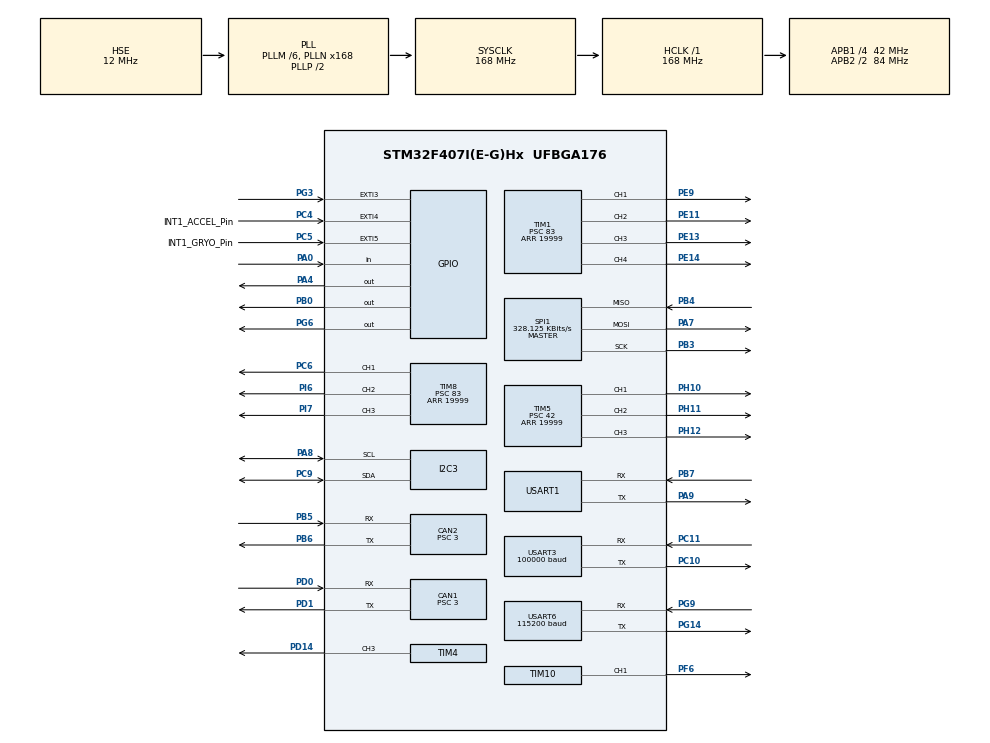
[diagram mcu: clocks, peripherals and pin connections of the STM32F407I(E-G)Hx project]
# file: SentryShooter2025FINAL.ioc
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CAN1.BS1=CAN_BS1_10TQ
CAN1.BS2=CAN_BS2_3TQ
CAN1.CalculateBaudRate=1000000
CAN1.CalculateTimeBit=1000
CAN1.CalculateTimeQuantum=71.42857142857143
CAN1.Prescaler=3
CAN2.BS1=CAN_BS1_10TQ
CAN2.BS2=CAN_BS2_3TQ
CAN2.CalculateBaudRate=1000000
CAN2.CalculateTimeBit=1000
CAN2.CalculateTimeQuantum=71.42857142857143
CAN2.Prescaler=3
Dma.Request0=USART3_RX
Dma.Request1=USART1_RX
Dma.Request2=USART6_RX
Dma.USART1_RX.1.Direction=DMA_PERIPH_TO_MEMORY
Dma.USART1_RX.1.FIFOMode=DMA_FIFOMODE_DISABLE
Dma.USART1_RX.1.Instance=DMA2_Stream2
Dma.USART1_RX.1.MemDataAlignment=DMA_MDATAALIGN_BYTE
Dma.USART1_RX.1.MemInc=DMA_MINC_ENABLE
Dma.USART1_RX.1.Mode=DMA_NORMAL
Dma.USART1_RX.1.PeriphDataAlignment=DMA_PDATAALIGN_BYTE
Dma.USART1_RX.1.PeriphInc=DMA_PINC_DISABLE
Dma.USART1_RX.1.Priority=DMA_PRIORITY_VERY_HIGH
Dma.USART3_RX.0.Direction=DMA_PERIPH_TO_MEMORY
Dma.USART3_RX.0.FIFOMode=DMA_FIFOMODE_DISABLE
Dma.USART3_RX.0.Instance=DMA1_Stream1
Dma.USART3_RX.0.MemDataAlignment=DMA_MDATAALIGN_BYTE
Dma.USART3_RX.0.MemInc=DMA_MINC_ENABLE
Dma.USART3_RX.0.Mode=DMA_CIRCULAR
Dma.USART3_RX.0.PeriphDataAlignment=DMA_PDATAALIGN_BYTE
Dma.USART3_RX.0.PeriphInc=DMA_PINC_DISABLE
Dma.USART3_RX.0.Priority=DMA_PRIORITY_VERY_HIGH
Dma.USART6_RX.2.Direction=DMA_PERIPH_TO_MEMORY
Dma.USART6_RX.2.FIFOMode=DMA_FIFOMODE_DISABLE
Dma.USART6_RX.2.Instance=DMA2_Stream1
Dma.USART6_RX.2.MemDataAlignment=DMA_MDATAALIGN_BYTE
Dma.USART6_RX.2.MemInc=DMA_MINC_ENABLE
Dma.USART6_RX.2.Mode=DMA_NORMAL
Dma.USART6_RX.2.PeriphDataAlignment=DMA_PDATAALIGN_BYTE
Dma.USART6_RX.2.PeriphInc=DMA_PINC_DISABLE
Dma.USART6_RX.2.Priority=DMA_PRIORITY_VERY_HIGH
FREERTOS.INCLUDE_pcTaskGetTaskName=1
FREERTOS.INCLUDE_xTaskGetHandle=1
FREERTOS.Tasks01=FlowManager,40,128,StartFlowManager,Default,NULL,Dynamic,NULL,NULL;IMUtempPIDtask,24,128,imu_temp_control_task,As weak,NULL,Dynamic,NULL,NULL;TurretTask,24,1024,StartTurretTask,Default,NULL,Dynamic,NULL,NULL;SentryAutonomy,24,512,StartSentryAutonomy,Default,NULL,Dynamic,NULL,NULL
FREERTOS.configUSE_NEWLIB_REENTRANT=1
I2C3.I2C_Mode=I2C_Fast
Mcu.Family=STM32F4
Mcu.Name=STM32F407I(E-G)Hx
Mcu.Package=UFBGA176
NVIC.CAN1_RX0_IRQn=true\:5\:0\:false\:false\:true\:true\:true\:true\:true
NVIC.CAN2_RX0_IRQn=true\:5\:0\:false\:false\:true\:true\:true\:true\:true
NVIC.DMA1_Stream1_IRQn=true\:5\:0\:false\:false\:true\:true\:false\:true\:true
NVIC.DMA2_Stream1_IRQn=true\:5\:0\:false\:false\:true\:true\:false\:true\:true
NVIC.DMA2_Stream2_IRQn=true\:5\:0\:false\:false\:true\:true\:false\:true\:true
NVIC.EXTI3_IRQn=true\:5\:0\:false\:false\:true\:true\:true\:true\:true
NVIC.EXTI4_IRQn=true\:5\:0\:false\:false\:true\:true\:true\:true\:true
NVIC.PriorityGroup=NVIC_PRIORITYGROUP_4
NVIC.USART1_IRQn=true\:5\:0\:false\:false\:true\:true\:true\:true\:true
NVIC.USART6_IRQn=true\:5\:0\:false\:false\:true\:true\:true\:true\:true
PA0-WKUP.Signal=GPIO_Input
PA13.Mode=Serial_Wire
PA13.Signal=SYS_JTMS-SWDIO
PA14.Mode=Serial_Wire
PA14.Signal=SYS_JTCK-SWCLK
PA4.Signal=GPIO_Output
PA7.Mode=Full_Duplex_Master
PA7.Signal=SPI1_MOSI
PA8.Mode=I2C
PA8.Signal=I2C3_SCL
PA9.Mode=Asynchronous
PA9.Signal=USART1_TX
PB0.Signal=GPIO_Output
PB3.Mode=Full_Duplex_Master
PB3.Signal=SPI1_SCK
PB4.Mode=Full_Duplex_Master
PB4.Signal=SPI1_MISO
PB5.Mode=CAN_Activate
PB5.Signal=CAN2_RX
PB6.Mode=CAN_Activate
PB6.Signal=CAN2_TX
PB7.Mode=Asynchronous
PB7.Signal=USART1_RX
PC10.Mode=Asynchronous
PC10.Signal=USART3_TX
PC11.Mode=Asynchronous
PC11.Signal=USART3_RX
PC4.GPIO_Label=INT1_ACCEL_Pin
PC4.Signal=GPXTI4
PC5.GPIO_Label=INT1_GRYO_Pin
PC5.Signal=GPXTI5
PC6.Signal=S_TIM8_CH1
PC9.Mode=I2C
PC9.Signal=I2C3_SDA
PD0.Mode=CAN_Activate
PD0.Signal=CAN1_RX
PD1.Mode=CAN_Activate
PD1.Signal=CAN1_TX
PD14.Signal=S_TIM4_CH3
PE11.Signal=S_TIM1_CH2
PE13.Signal=S_TIM1_CH3
PE14.Signal=S_TIM1_CH4
PE9.Signal=S_TIM1_CH1
PF6.GPIO_PuPd=GPIO_PULLUP
PF6.GPIO_Speed=GPIO_SPEED_FREQ_HIGH
PF6.Signal=S_TIM10_CH1
PG14.Mode=Asynchronous
PG14.Signal=USART6_TX
PG3.Signal=GPXTI3
PG6.Signal=GPIO_Output
PG9.Mode=Asynchronous
PG9.Signal=USART6_RX
PH0-OSC_IN.Mode=HSE-External-Oscillator
PH0-OSC_IN.Signal=RCC_OSC_IN
PH1-OSC_OUT.Mode=HSE-External-Oscillator
PH1-OSC_OUT.Signal=RCC_OSC_OUT
PH10.Signal=S_TIM5_CH1
PH11.Signal=S_TIM5_CH2
PH12.Signal=S_TIM5_CH3
PI6.Signal=S_TIM8_CH2
PI7.Signal=S_TIM8_CH3
ProjectManager.HeapSize=0x200
ProjectManager.StackSize=0x400
ProjectManager.TargetToolchain=STM32CubeIDE
RCC.48MHZClocksFreq_Value=84000000
RCC.AHBFreq_Value=168000000
RCC.APB1CLKDivider=RCC_HCLK_DIV4
RCC.APB1Freq_Value=42000000
RCC.APB1TimFreq_Value=84000000
RCC.APB2CLKDivider=RCC_HCLK_DIV2
RCC.APB2Freq_Value=84000000
RCC.APB2TimFreq_Value=168000000
RCC.CortexFreq_Value=168000000
RCC.EnbaleCSS=true
RCC.HCLKFreq_Value=168000000
RCC.HSE_VALUE=12000000
RCC.HSI_VALUE=16000000
RCC.LSE_VALUE=32768
RCC.PLLM=6
RCC.PLLN=168
RCC.PLLSourceVirtual=RCC_PLLSOURCE_HSE
RCC.SYSCLKFreq_VALUE=168000000
RCC.SYSCLKSource=RCC_SYSCLKSOURCE_PLLCLK
RCC.VCOOutputFreq_Value=336000000
SH.S_TIM10_CH1.0=TIM10_CH1,PWM Generation1 CH1
SH.S_TIM1_CH1.0=TIM1_CH1,PWM Generation1 CH1
SH.S_TIM1_CH2.0=TIM1_CH2,PWM Generation2 CH2
SH.S_TIM1_CH3.0=TIM1_CH3,PWM Generation3 CH3
SH.S_TIM1_CH4.0=TIM1_CH4,PWM Generation4 CH4
SH.S_TIM4_CH3.0=TIM4_CH3,PWM Generation3 CH3
SH.S_TIM5_CH1.0=TIM5_CH1,PWM Generation1 CH1
SH.S_TIM5_CH2.0=TIM5_CH2,PWM Generation2 CH2
SH.S_TIM5_CH3.0=TIM5_CH3,PWM Generation3 CH3
SH.S_TIM8_CH1.0=TIM8_CH1,PWM Generation1 CH1
SH.S_TIM8_CH2.0=TIM8_CH2,PWM Generation2 CH2
SH.S_TIM8_CH3.0=TIM8_CH3,PWM Generation3 CH3
SPI1.BaudRatePrescaler=SPI_BAUDRATEPRESCALER_256
SPI1.CLKPhase=SPI_PHASE_2EDGE
SPI1.CLKPolarity=SPI_POLARITY_HIGH
SPI1.CalculateBaudRate=328.125 KBits/s
SPI1.Direction=SPI_DIRECTION_2LINES
SPI1.Mode=SPI_MODE_MASTER
SPI1.VirtualType=VM_MASTER
TIM1.AutoReloadPreload=TIM_AUTORELOAD_PRELOAD_DISABLE
TIM1.Channel-PWM\ Generation1\ CH1=TIM_CHANNEL_1
TIM1.Channel-PWM\ Generation2\ CH2=TIM_CHANNEL_2
TIM1.Channel-PWM\ Generation3\ CH3=TIM_CHANNEL_3
TIM1.Channel-PWM\ Generation4\ CH4=TIM_CHANNEL_4
TIM1.Period=19999
TIM1.Prescaler=83
TIM1.Pulse-PWM\ Generation1\ CH1=0
TIM10.Channel=TIM_CHANNEL_1
TIM10.Period=4999
TIM4.AutoReloadPreload=TIM_AUTORELOAD_PRELOAD_ENABLE
TIM4.Channel-PWM\ Generation3\ CH3=TIM_CHANNEL_3
TIM4.Period=20999
TIM4.Pulse-PWM\ Generation3\ CH3=10499
TIM5.Channel-PWM\ Generation1\ CH1=TIM_CHANNEL_1
TIM5.Channel-PWM\ Generation2\ CH2=TIM_CHANNEL_2
TIM5.Channel-PWM\ Generation3\ CH3=TIM_CHANNEL_3
TIM5.Period=19999
TIM5.Prescaler=42
TIM8.AutoReloadPreload=TIM_AUTORELOAD_PRELOAD_ENABLE
TIM8.Channel-PWM\ Generation1\ CH1=TIM_CHANNEL_1
TIM8.Channel-PWM\ Generation2\ CH2=TIM_CHANNEL_2
TIM8.Channel-PWM\ Generation3\ CH3=TIM_CHANNEL_3
TIM8.Period=19999
TIM8.Prescaler=83
USART1.VirtualMode=VM_ASYNC
USART3.BaudRate=100000
USART3.Parity=PARITY_EVEN
USART3.VirtualMode=VM_ASYNC
USART6.BaudRate=115200
USART6.VirtualMode=VM_ASYNC
VP_FREERTOS_VS_CMSIS_V2.Mode=CMSIS_V2
VP_TIM10_VS_ClockSourceINT.Mode=Enable_Timer
VP_TIM4_VS_ClockSourceINT.Mode=Internal
board=custom

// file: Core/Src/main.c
/* USER CODE BEGIN Header */
/**
  ******************************************************************************
  * @file           : main.c
  * @brief          : Main program body
  ******************************************************************************
  * @attention
  *
  * Copyright (c) 2025 STMicroelectronics.
  * All rights reserved.
  *
  * This software is licensed under terms that can be found in the LICENSE file
  * in the root directory of this software component.
  * If no LICENSE file comes with this software, it is provided AS-IS.
  *
  ******************************************************************************
  */
/* USER CODE END Header */
#include "main.h"
#include "cmsis_os.h"

/* USER CODE BEGIN Includes */
#include "UART_RM25.h"
#include "DBUS.h"
#include <math.h>
// #include "CC_Handler.h"
#include "CAN.h"
#include "CAL_RM25.h"

#include "BMI088driver.h"
#include "BMI088Middleware.h"
#include "BMI088reg.h"
#include "custom_math.h"
#include "pwm.h"
/* USER CODE END Includes */

/* USER CODE BEGIN PD */
int16_t turretRotationForCV[3] = {0, 0, 0};
uint8_t SENTRYSHOOT[2] = {0, 0};
uint8_t currentGameStatus = 0;
int16_t sentryAutoState = 0;
uint8_t driveChassisForwards = 0;
int16_t turretCVAimingSum = 0;
int32_t SentryTurnAngle = 2000;
/* USER CODE END PD */

CAN_HandleTypeDef hcan1;
CAN_HandleTypeDef hcan2;

I2C_HandleTypeDef hi2c3;

SPI_HandleTypeDef hspi1;

TIM_HandleTypeDef htim1;
TIM_HandleTypeDef htim4;
TIM_HandleTypeDef htim5;
TIM_HandleTypeDef htim8;
TIM_HandleTypeDef htim10;

UART_HandleTypeDef huart1;
UART_HandleTypeDef huart3;
UART_HandleTypeDef huart6;
DMA_HandleTypeDef hdma_usart1_rx;
DMA_HandleTypeDef hdma_usart3_rx;
DMA_HandleTypeDef hdma_usart6_rx;

/* Definitions for FlowManager */
osThreadId_t FlowManagerHandle;
const osThreadAttr_t FlowManager_attributes = {
  .name = "FlowManager",
  .stack_size = 128 * 4,
  .priority = (osPriority_t) osPriorityHigh,
};
/* Definitions for IMUtempPIDtask */
osThreadId_t IMUtempPIDtaskHandle;
const osThreadAttr_t IMUtempPIDtask_attributes = {
  .name = "IMUtempPIDtask",
  .stack_size = 128 * 4,
  .priority = (osPriority_t) osPriorityNormal,
};
/* Definitions for TurretTask */
osThreadId_t TurretTaskHandle;
const osThreadAttr_t TurretTask_attributes = {
  .name = "TurretTask",
  .stack_size = 1024 * 4,
  .priority = (osPriority_t) osPriorityNormal,
};
/* Definitions for SentryAutonomy */
osThreadId_t SentryAutonomyHandle;
const osThreadAttr_t SentryAutonomy_attributes = {
  .name = "SentryAutonomy",
  .stack_size = 512 * 4,
  .priority = (osPriority_t) osPriorityNormal,
};

void SystemClock_Config(void);
static void MX_GPIO_Init(void);
static void MX_DMA_Init(void);
static void MX_CAN1_Init(void);
static void MX_CAN2_Init(void);
static void MX_SPI1_Init(void);
static void MX_TIM4_Init(void);
static void MX_USART1_UART_Init(void);
static void MX_USART6_UART_Init(void);
static void MX_TIM1_Init(void);
static void MX_TIM8_Init(void);
static void MX_USART3_UART_Init(void);
static void MX_TIM10_Init(void);
static void MX_I2C3_Init(void);
static void MX_TIM5_Init(void);
void StartFlowManager(void *argument);
void imu_temp_control_task(void *argument);
void StartTurretTask(void *argument);
void StartSentryAutonomy(void *argument);

int main(void)
{

  /* MCU Configuration--------------------------------------------------------*/

  /* Reset of all peripherals, Initializes the Flash interface and the Systick. */
  HAL_Init();

  /* Configure the system clock */
  SystemClock_Config();

  /* Initialize all configured peripherals */
  MX_GPIO_Init();
  MX_DMA_Init();
  MX_CAN1_Init();
  MX_CAN2_Init();
  MX_SPI1_Init();
  MX_TIM4_Init();
  // MX_USART1_UART_Init();
  MX_USART6_UART_Init();
  MX_TIM1_Init();
  MX_TIM8_Init();
  MX_USART3_UART_Init();
  MX_TIM10_Init();
  MX_I2C3_Init();
  MX_TIM5_Init();
  /* USER CODE BEGIN 2 */
  PWMInit(&htim1, &htim4, &htim5, &htim8);

  /* USER CODE END 2 */

  /* Init scheduler */
  osKernelInitialize();

  /* Create the thread(s) */
  /* creation of FlowManager */
  FlowManagerHandle = osThreadNew(StartFlowManager, NULL, &FlowManager_attributes);

  /* creation of IMUtempPIDtask */
  IMUtempPIDtaskHandle = osThreadNew(imu_temp_control_task, NULL, &IMUtempPIDtask_attributes);

  /* creation of TurretTask */
  TurretTaskHandle = osThreadNew(StartTurretTask, NULL, &TurretTask_attributes);

  /* creation of SentryAutonomy */
  SentryAutonomyHandle = osThreadNew(StartSentryAutonomy, NULL, &SentryAutonomy_attributes);

  /* Start scheduler */
  osKernelStart();

  /* We should never get here as control is now taken by the scheduler */

  /* Infinite loop */
  while (1)
  {

  }
}

void SystemClock_Config(void)
{
  RCC_OscInitTypeDef RCC_OscInitStruct = {0};
  RCC_ClkInitTypeDef RCC_ClkInitStruct = {0};

  /** Configure the main internal regulator output voltage
  */
  __HAL_RCC_PWR_CLK_ENABLE();
  __HAL_PWR_VOLTAGESCALING_CONFIG(PWR_REGULATOR_VOLTAGE_SCALE1);

  /** Initializes the RCC Oscillators according to the specified parameters
  * in the RCC_OscInitTypeDef structure.
  */
  RCC_OscInitStruct.OscillatorType = RCC_OSCILLATORTYPE_HSE;
  RCC_OscInitStruct.HSEState = RCC_HSE_ON;
  RCC_OscInitStruct.PLL.PLLState = RCC_PLL_ON;
  RCC_OscInitStruct.PLL.PLLSource = RCC_PLLSOURCE_HSE;
  RCC_OscInitStruct.PLL.PLLM = 6;
  RCC_OscInitStruct.PLL.PLLN = 168;
  RCC_OscInitStruct.PLL.PLLP = RCC_PLLP_DIV2;
  RCC_OscInitStruct.PLL.PLLQ = 4;
  if (HAL_RCC_OscConfig(&RCC_OscInitStruct) != HAL_OK)
  {
    Error_Handler();
  }

  /** Initializes the CPU, AHB and APB buses clocks
  */
  RCC_ClkInitStruct.ClockType = RCC_CLOCKTYPE_HCLK|RCC_CLOCKTYPE_SYSCLK
                              |RCC_CLOCKTYPE_PCLK1|RCC_CLOCKTYPE_PCLK2;
  RCC_ClkInitStruct.SYSCLKSource = RCC_SYSCLKSOURCE_PLLCLK;
  RCC_ClkInitStruct.AHBCLKDivider = RCC_SYSCLK_DIV1;
  RCC_ClkInitStruct.APB1CLKDivider = RCC_HCLK_DIV4;
  RCC_ClkInitStruct.APB2CLKDivider = RCC_HCLK_DIV2;

  if (HAL_RCC_ClockConfig(&RCC_ClkInitStruct, FLASH_LATENCY_5) != HAL_OK)
  {
    Error_Handler();
  }

  /** Enables the Clock Security System
  */
  HAL_RCC_EnableCSS();
}

static void MX_CAN1_Init(void)
{

  hcan1.Instance = CAN1;
  hcan1.Init.Prescaler = 3;
  hcan1.Init.Mode = CAN_MODE_NORMAL;
  hcan1.Init.SyncJumpWidth = CAN_SJW_1TQ;
  hcan1.Init.TimeSeg1 = CAN_BS1_10TQ;
  hcan1.Init.TimeSeg2 = CAN_BS2_3TQ;
  hcan1.Init.TimeTriggeredMode = DISABLE;
  hcan1.Init.AutoBusOff = DISABLE;
  hcan1.Init.AutoWakeUp = DISABLE;
  hcan1.Init.AutoRetransmission = DISABLE;
  hcan1.Init.ReceiveFifoLocked = DISABLE;
  hcan1.Init.TransmitFifoPriority = DISABLE;
  if (HAL_CAN_Init(&hcan1) != HAL_OK)
  {
    Error_Handler();
  }

}

static void MX_CAN2_Init(void)
{

  hcan2.Instance = CAN2;
  hcan2.Init.Prescaler = 3;
  hcan2.Init.Mode = CAN_MODE_NORMAL;
  hcan2.Init.SyncJumpWidth = CAN_SJW_1TQ;
  hcan2.Init.TimeSeg1 = CAN_BS1_10TQ;
  hcan2.Init.TimeSeg2 = CAN_BS2_3TQ;
  hcan2.Init.TimeTriggeredMode = DISABLE;
  hcan2.Init.AutoBusOff = DISABLE;
  hcan2.Init.AutoWakeUp = DISABLE;
  hcan2.Init.AutoRetransmission = DISABLE;
  hcan2.Init.ReceiveFifoLocked = DISABLE;
  hcan2.Init.TransmitFifoPriority = DISABLE;
  if (HAL_CAN_Init(&hcan2) != HAL_OK)
  {
    Error_Handler();
  }

}

static void MX_I2C3_Init(void)
{

  hi2c3.Instance = I2C3;
  hi2c3.Init.ClockSpeed = 400000;
  hi2c3.Init.DutyCycle = I2C_DUTYCYCLE_2;
  hi2c3.Init.OwnAddress1 = 0;
  hi2c3.Init.AddressingMode = I2C_ADDRESSINGMODE_7BIT;
  hi2c3.Init.DualAddressMode = I2C_DUALADDRESS_DISABLE;
  hi2c3.Init.OwnAddress2 = 0;
  hi2c3.Init.GeneralCallMode = I2C_GENERALCALL_DISABLE;
  hi2c3.Init.NoStretchMode = I2C_NOSTRETCH_DISABLE;
  if (HAL_I2C_Init(&hi2c3) != HAL_OK)
  {
    Error_Handler();
  }

}

static void MX_SPI1_Init(void)
{

  /* SPI1 parameter configuration*/
  hspi1.Instance = SPI1;
  hspi1.Init.Mode = SPI_MODE_MASTER;
  hspi1.Init.Direction = SPI_DIRECTION_2LINES;
  hspi1.Init.DataSize = SPI_DATASIZE_8BIT;
  hspi1.Init.CLKPolarity = SPI_POLARITY_HIGH;
  hspi1.Init.CLKPhase = SPI_PHASE_2EDGE;
  hspi1.Init.NSS = SPI_NSS_SOFT;
  hspi1.Init.BaudRatePrescaler = SPI_BAUDRATEPRESCALER_256;
  hspi1.Init.FirstBit = SPI_FIRSTBIT_MSB;
  hspi1.Init.TIMode = SPI_TIMODE_DISABLE;
  hspi1.Init.CRCCalculation = SPI_CRCCALCULATION_DISABLE;
  hspi1.Init.CRCPolynomial = 10;
  if (HAL_SPI_Init(&hspi1) != HAL_OK)
  {
    Error_Handler();
  }

}

static void MX_TIM1_Init(void)
{

  TIM_MasterConfigTypeDef sMasterConfig = {0};
  TIM_OC_InitTypeDef sConfigOC = {0};
  TIM_BreakDeadTimeConfigTypeDef sBreakDeadTimeConfig = {0};

  htim1.Instance = TIM1;
  htim1.Init.Prescaler = 83;
  htim1.Init.CounterMode = TIM_COUNTERMODE_UP;
  htim1.Init.Period = 19999;
  htim1.Init.ClockDivision = TIM_CLOCKDIVISION_DIV1;
  htim1.Init.RepetitionCounter = 0;
  htim1.Init.AutoReloadPreload = TIM_AUTORELOAD_PRELOAD_DISABLE;
  if (HAL_TIM_PWM_Init(&htim1) != HAL_OK)
  {
    Error_Handler();
  }
  sMasterConfig.MasterOutputTrigger = TIM_TRGO_RESET;
  sMasterConfig.MasterSlaveMode = TIM_MASTERSLAVEMODE_DISABLE;
  if (HAL_TIMEx_MasterConfigSynchronization(&htim1, &sMasterConfig) != HAL_OK)
  {
    Error_Handler();
  }
  sConfigOC.OCMode = TIM_OCMODE_PWM1;
  sConfigOC.Pulse = 0;
  sConfigOC.OCPolarity = TIM_OCPOLARITY_HIGH;
  sConfigOC.OCNPolarity = TIM_OCNPOLARITY_HIGH;
  sConfigOC.OCFastMode = TIM_OCFAST_DISABLE;
  sConfigOC.OCIdleState = TIM_OCIDLESTATE_RESET;
  sConfigOC.OCNIdleState = TIM_OCNIDLESTATE_RESET;
  if (HAL_TIM_PWM_ConfigChannel(&htim1, &sConfigOC, TIM_CHANNEL_1) != HAL_OK)
  {
    Error_Handler();
  }
  if (HAL_TIM_PWM_ConfigChannel(&htim1, &sConfigOC, TIM_CHANNEL_2) != HAL_OK)
  {
    Error_Handler();
  }
  if (HAL_TIM_PWM_ConfigChannel(&htim1, &sConfigOC, TIM_CHANNEL_3) != HAL_OK)
  {
    Error_Handler();
  }
  if (HAL_TIM_PWM_ConfigChannel(&htim1, &sConfigOC, TIM_CHANNEL_4) != HAL_OK)
  {
    Error_Handler();
  }
  sBreakDeadTimeConfig.OffStateRunMode = TIM_OSSR_DISABLE;
  sBreakDeadTimeConfig.OffStateIDLEMode = TIM_OSSI_DISABLE;
  sBreakDeadTimeConfig.LockLevel = TIM_LOCKLEVEL_OFF;
  sBreakDeadTimeConfig.DeadTime = 0;
  sBreakDeadTimeConfig.BreakState = TIM_BREAK_DISABLE;
  sBreakDeadTimeConfig.BreakPolarity = TIM_BREAKPOLARITY_HIGH;
  sBreakDeadTimeConfig.AutomaticOutput = TIM_AUTOMATICOUTPUT_DISABLE;
  if (HAL_TIMEx_ConfigBreakDeadTime(&htim1, &sBreakDeadTimeConfig) != HAL_OK)
  {
    Error_Handler();
  }
  HAL_TIM_MspPostInit(&htim1);

}

static void MX_TIM4_Init(void)
{

  TIM_ClockConfigTypeDef sClockSourceConfig = {0};
  TIM_MasterConfigTypeDef sMasterConfig = {0};
  TIM_OC_InitTypeDef sConfigOC = {0};

  htim4.Instance = TIM4;
  htim4.Init.Prescaler = 0;
  htim4.Init.CounterMode = TIM_COUNTERMODE_UP;
  htim4.Init.Period = 20999;
  htim4.Init.ClockDivision = TIM_CLOCKDIVISION_DIV1;
  htim4.Init.AutoReloadPreload = TIM_AUTORELOAD_PRELOAD_ENABLE;
  if (HAL_TIM_Base_Init(&htim4) != HAL_OK)
  {
    Error_Handler();
  }
  sClockSourceConfig.ClockSource = TIM_CLOCKSOURCE_INTERNAL;
  if (HAL_TIM_ConfigClockSource(&htim4, &sClockSourceConfig) != HAL_OK)
  {
    Error_Handler();
  }
  if (HAL_TIM_PWM_Init(&htim4) != HAL_OK)
  {
    Error_Handler();
  }
  sMasterConfig.MasterOutputTrigger = TIM_TRGO_RESET;
  sMasterConfig.MasterSlaveMode = TIM_MASTERSLAVEMODE_DISABLE;
  if (HAL_TIMEx_MasterConfigSynchronization(&htim4, &sMasterConfig) != HAL_OK)
  {
    Error_Handler();
  }
  sConfigOC.OCMode = TIM_OCMODE_PWM1;
  sConfigOC.Pulse = 10499;
  sConfigOC.OCPolarity = TIM_OCPOLARITY_HIGH;
  sConfigOC.OCFastMode = TIM_OCFAST_DISABLE;
  if (HAL_TIM_PWM_ConfigChannel(&htim4, &sConfigOC, TIM_CHANNEL_3) != HAL_OK)
  {
    Error_Handler();
  }
  HAL_TIM_MspPostInit(&htim4);

}

static void MX_TIM5_Init(void)
{

  TIM_MasterConfigTypeDef sMasterConfig = {0};
  TIM_OC_InitTypeDef sConfigOC = {0};

  htim5.Instance = TIM5;
  htim5.Init.Prescaler = 42;
  htim5.Init.CounterMode = TIM_COUNTERMODE_UP;
  htim5.Init.Period = 19999;
  htim5.Init.ClockDivision = TIM_CLOCKDIVISION_DIV1;
  htim5.Init.AutoReloadPreload = TIM_AUTORELOAD_PRELOAD_DISABLE;
  if (HAL_TIM_PWM_Init(&htim5) != HAL_OK)
  {
    Error_Handler();
  }
  sMasterConfig.MasterOutputTrigger = TIM_TRGO_RESET;
  sMasterConfig.MasterSlaveMode = TIM_MASTERSLAVEMODE_DISABLE;
  if (HAL_TIMEx_MasterConfigSynchronization(&htim5, &sMasterConfig) != HAL_OK)
  {
    Error_Handler();
  }
  sConfigOC.OCMode = TIM_OCMODE_PWM1;
  sConfigOC.Pulse = 0;
  sConfigOC.OCPolarity = TIM_OCPOLARITY_HIGH;
  sConfigOC.OCFastMode = TIM_OCFAST_DISABLE;
  if (HAL_TIM_PWM_ConfigChannel(&htim5, &sConfigOC, TIM_CHANNEL_1) != HAL_OK)
  {
    Error_Handler();
  }
  if (HAL_TIM_PWM_ConfigChannel(&htim5, &sConfigOC, TIM_CHANNEL_2) != HAL_OK)
  {
    Error_Handler();
  }
  if (HAL_TIM_PWM_ConfigChannel(&htim5, &sConfigOC, TIM_CHANNEL_3) != HAL_OK)
  {
    Error_Handler();
  }
  HAL_TIM_MspPostInit(&htim5);

}

static void MX_TIM8_Init(void)
{

  TIM_MasterConfigTypeDef sMasterConfig = {0};
  TIM_OC_InitTypeDef sConfigOC = {0};
  TIM_BreakDeadTimeConfigTypeDef sBreakDeadTimeConfig = {0};

  htim8.Instance = TIM8;
  htim8.Init.Prescaler = 83;
  htim8.Init.CounterMode = TIM_COUNTERMODE_UP;
  htim8.Init.Period = 19999;
  htim8.Init.ClockDivision = TIM_CLOCKDIVISION_DIV1;
  htim8.Init.RepetitionCounter = 0;
  htim8.Init.AutoReloadPreload = TIM_AUTORELOAD_PRELOAD_ENABLE;
  if (HAL_TIM_PWM_Init(&htim8) != HAL_OK)
  {
    Error_Handler();
  }
  sMasterConfig.MasterOutputTrigger = TIM_TRGO_RESET;
  sMasterConfig.MasterSlaveMode = TIM_MASTERSLAVEMODE_DISABLE;
  if (HAL_TIMEx_MasterConfigSynchronization(&htim8, &sMasterConfig) != HAL_OK)
  {
    Error_Handler();
  }
  sConfigOC.OCMode = TIM_OCMODE_PWM1;
  sConfigOC.Pulse = 0;
  sConfigOC.OCPolarity = TIM_OCPOLARITY_HIGH;
  sConfigOC.OCNPolarity = TIM_OCNPOLARITY_HIGH;
  sConfigOC.OCFastMode = TIM_OCFAST_DISABLE;
  sConfigOC.OCIdleState = TIM_OCIDLESTATE_RESET;
  sConfigOC.OCNIdleState = TIM_OCNIDLESTATE_RESET;
  if (HAL_TIM_PWM_ConfigChannel(&htim8, &sConfigOC, TIM_CHANNEL_1) != HAL_OK)
  {
    Error_Handler();
  }
  if (HAL_TIM_PWM_ConfigChannel(&htim8, &sConfigOC, TIM_CHANNEL_2) != HAL_OK)
  {
    Error_Handler();
  }
  if (HAL_TIM_PWM_ConfigChannel(&htim8, &sConfigOC, TIM_CHANNEL_3) != HAL_OK)
  {
    Error_Handler();
  }
  sBreakDeadTimeConfig.OffStateRunMode = TIM_OSSR_DISABLE;
  sBreakDeadTimeConfig.OffStateIDLEMode = TIM_OSSI_DISABLE;
  sBreakDeadTimeConfig.LockLevel = TIM_LOCKLEVEL_OFF;
  sBreakDeadTimeConfig.DeadTime = 0;
  sBreakDeadTimeConfig.BreakState = TIM_BREAK_DISABLE;
  sBreakDeadTimeConfig.BreakPolarity = TIM_BREAKPOLARITY_HIGH;
  sBreakDeadTimeConfig.AutomaticOutput = TIM_AUTOMATICOUTPUT_DISABLE;
  if (HAL_TIMEx_ConfigBreakDeadTime(&htim8, &sBreakDeadTimeConfig) != HAL_OK)
  {
    Error_Handler();
  }
  HAL_TIM_MspPostInit(&htim8);

}

static void MX_TIM10_Init(void)
{

  TIM_OC_InitTypeDef sConfigOC = {0};

  htim10.Instance = TIM10;
  htim10.Init.Prescaler = 0;
  htim10.Init.CounterMode = TIM_COUNTERMODE_UP;
  htim10.Init.Period = 4999;
  htim10.Init.ClockDivision = TIM_CLOCKDIVISION_DIV1;
  htim10.Init.AutoReloadPreload = TIM_AUTORELOAD_PRELOAD_DISABLE;
  if (HAL_TIM_Base_Init(&htim10) != HAL_OK)
  {
    Error_Handler();
  }
  if (HAL_TIM_PWM_Init(&htim10) != HAL_OK)
  {
    Error_Handler();
  }
  sConfigOC.OCMode = TIM_OCMODE_PWM1;
  sConfigOC.Pulse = 0;
  sConfigOC.OCPolarity = TIM_OCPOLARITY_HIGH;
  sConfigOC.OCFastMode = TIM_OCFAST_DISABLE;
  if (HAL_TIM_PWM_ConfigChannel(&htim10, &sConfigOC, TIM_CHANNEL_1) != HAL_OK)
  {
    Error_Handler();
  }
  HAL_TIM_MspPostInit(&htim10);

}

static void MX_USART1_UART_Init(void)
{

  huart1.Instance = USART1;
  huart1.Init.BaudRate = 115200;
  huart1.Init.WordLength = UART_WORDLENGTH_8B;
  huart1.Init.StopBits = UART_STOPBITS_1;
  huart1.Init.Parity = UART_PARITY_NONE;
  huart1.Init.Mode = UART_MODE_TX_RX;
  huart1.Init.HwFlowCtl = UART_HWCONTROL_NONE;
  huart1.Init.OverSampling = UART_OVERSAMPLING_16;
  if (HAL_UART_Init(&huart1) != HAL_OK)
  {
    Error_Handler();
  }

}

static void MX_USART3_UART_Init(void)
{

  huart3.Instance = USART3;
  huart3.Init.BaudRate = 100000;
  huart3.Init.WordLength = UART_WORDLENGTH_8B;
  huart3.Init.StopBits = UART_STOPBITS_1;
  huart3.Init.Parity = UART_PARITY_EVEN;
  huart3.Init.Mode = UART_MODE_TX_RX;
  huart3.Init.HwFlowCtl = UART_HWCONTROL_NONE;
  huart3.Init.OverSampling = UART_OVERSAMPLING_16;
  if (HAL_UART_Init(&huart3) != HAL_OK)
  {
    Error_Handler();
  }

}

static void MX_USART6_UART_Init(void)
{

  huart6.Instance = USART6;
  huart6.Init.BaudRate = 115200;
  huart6.Init.WordLength = UART_WORDLENGTH_8B;
  huart6.Init.StopBits = UART_STOPBITS_1;
  huart6.Init.Parity = UART_PARITY_NONE;
  huart6.Init.Mode = UART_MODE_TX_RX;
  huart6.Init.HwFlowCtl = UART_HWCONTROL_NONE;
  huart6.Init.OverSampling = UART_OVERSAMPLING_16;
  if (HAL_UART_Init(&huart6) != HAL_OK)
  {
    Error_Handler();
  }

}

static void MX_DMA_Init(void)
{

  /* DMA controller clock enable */
  __HAL_RCC_DMA1_CLK_ENABLE();
  __HAL_RCC_DMA2_CLK_ENABLE();

  /* DMA interrupt init */
  /* DMA1_Stream1_IRQn interrupt configuration */
  HAL_NVIC_SetPriority(DMA1_Stream1_IRQn, 5, 0);
  HAL_NVIC_EnableIRQ(DMA1_Stream1_IRQn);
  /* DMA2_Stream1_IRQn interrupt configuration */
  HAL_NVIC_SetPriority(DMA2_Stream1_IRQn, 5, 0);
  HAL_NVIC_EnableIRQ(DMA2_Stream1_IRQn);
  /* DMA2_Stream2_IRQn interrupt configuration */
  HAL_NVIC_SetPriority(DMA2_Stream2_IRQn, 5, 0);
  HAL_NVIC_EnableIRQ(DMA2_Stream2_IRQn);

}

static void MX_GPIO_Init(void)
{
  GPIO_InitTypeDef GPIO_InitStruct = {0};

  /* GPIO Ports Clock Enable */
  __HAL_RCC_GPIOB_CLK_ENABLE();
  __HAL_RCC_GPIOG_CLK_ENABLE();
  __HAL_RCC_GPIOA_CLK_ENABLE();
  __HAL_RCC_GPIOD_CLK_ENABLE();
  __HAL_RCC_GPIOC_CLK_ENABLE();
  __HAL_RCC_GPIOI_CLK_ENABLE();
  __HAL_RCC_GPIOH_CLK_ENABLE();
  __HAL_RCC_GPIOF_CLK_ENABLE();
  __HAL_RCC_GPIOE_CLK_ENABLE();

  /*Configure GPIO pin Output Level */
  HAL_GPIO_WritePin(GPIOG, GPIO_PIN_6, GPIO_PIN_RESET);

  /*Configure GPIO pin Output Level */
  HAL_GPIO_WritePin(GPIOA, GPIO_PIN_4, GPIO_PIN_RESET);

  /*Configure GPIO pin Output Level */
  HAL_GPIO_WritePin(GPIOB, GPIO_PIN_0, GPIO_PIN_RESET);

  /*Configure GPIO pin : PG6 */
  GPIO_InitStruct.Pin = GPIO_PIN_6;
  GPIO_InitStruct.Mode = GPIO_MODE_OUTPUT_PP;
  GPIO_InitStruct.Pull = GPIO_NOPULL;
  GPIO_InitStruct.Speed = GPIO_SPEED_FREQ_LOW;
  HAL_GPIO_Init(GPIOG, &GPIO_InitStruct);

  /*Configure GPIO pin : PG3 */
  GPIO_InitStruct.Pin = GPIO_PIN_3;
  GPIO_InitStruct.Mode = GPIO_MODE_IT_RISING;
  GPIO_InitStruct.Pull = GPIO_NOPULL;
  HAL_GPIO_Init(GPIOG, &GPIO_InitStruct);

  /*Configure GPIO pin : PA0 */
  GPIO_InitStruct.Pin = GPIO_PIN_0;
  GPIO_InitStruct.Mode = GPIO_MODE_INPUT;
  GPIO_InitStruct.Pull = GPIO_NOPULL;
  HAL_GPIO_Init(GPIOA, &GPIO_InitStruct);

  /*Configure GPIO pin : PA4 */
  GPIO_InitStruct.Pin = GPIO_PIN_4;
  GPIO_InitStruct.Mode = GPIO_MODE_OUTPUT_PP;
  GPIO_InitStruct.Pull = GPIO_NOPULL;
  GPIO_InitStruct.Speed = GPIO_SPEED_FREQ_LOW;
  HAL_GPIO_Init(GPIOA, &GPIO_InitStruct);

  /*Configure GPIO pins : INT1_ACCEL_Pin_Pin INT1_GRYO_Pin_Pin */
  GPIO_InitStruct.Pin = INT1_ACCEL_Pin_Pin|INT1_GRYO_Pin_Pin;
  GPIO_InitStruct.Mode = GPIO_MODE_IT_RISING;
  GPIO_InitStruct.Pull = GPIO_NOPULL;
  HAL_GPIO_Init(GPIOC, &GPIO_InitStruct);

  /*Configure GPIO pin : PB0 */
  GPIO_InitStruct.Pin = GPIO_PIN_0;
  GPIO_InitStruct.Mode = GPIO_MODE_OUTPUT_PP;
  GPIO_InitStruct.Pull = GPIO_NOPULL;
  GPIO_InitStruct.Speed = GPIO_SPEED_FREQ_LOW;
  HAL_GPIO_Init(GPIOB, &GPIO_InitStruct);

  /* EXTI interrupt init*/
  HAL_NVIC_SetPriority(EXTI3_IRQn, 5, 0);
  HAL_NVIC_EnableIRQ(EXTI3_IRQn);

  HAL_NVIC_SetPriority(EXTI4_IRQn, 5, 0);
  HAL_NVIC_EnableIRQ(EXTI4_IRQn);

}

/* USER CODE BEGIN 4 */

void fondlerAutoReverse (int8_t allVars[5], int8_t RCSwitch, int8_t M2006IDX, int8_t reverseRotation, PID_preset_t indexerPreset) {
	int16_t flywheelSpeed = getMotorRPM(Bus1, M3508, 1);
    if ((/*(pc_control.left_button_down == 1) && */(flywheelSpeed > 7000) && (allVars[4] == 0)) || (RCSwitch == 1)) {
    	// setMotorRPM(Bus2, M2006, 6, (100), indexerPreset);
    	allVars[0] = 1;

		if (allVars[3] > 0 && allVars[2] == 0) {
			setMotorRPM(Bus1, M2006, M2006IDX, reverseRotation*15000, indexerPreset);
			allVars[3]--;
		} else {
			allVars[2] = 0;
			// usart_printf("BeansOutput1\r\n");
			setMotorRPM(Bus1, M2006, M2006IDX, -270*16*reverseRotation, indexerPreset);
			if (reverseRotation == 1) {
				if (allVars[1] == 0 && getMotorRPM(Bus1, M2006, M2006IDX) <= -10) {
					allVars[1] = 1;
				} else if (getMotorRPM(Bus1, M2006, M2006IDX) > -1 && allVars[1] == 1) {         // jammed
					allVars[3] = 12;
					allVars[1] = 0;
				}
			} else {
				if (allVars[1] == 0 && getMotorRPM(Bus1, M2006, M2006IDX) >= 10) {
					allVars[1] = 1;
				} else if (getMotorRPM(Bus1, M2006, M2006IDX) < 1 && allVars[1] == 1) {         // jammed
					allVars[3] = 12;
					allVars[1] = 0;
				}
			}
		}
    } else {
    	allVars[0] = 0;
    	allVars[2] = 1;
    	allVars[1] = 0;
    	setMotorRPM(Bus1, M2006, M2006IDX, 0, indexerPreset);
    }
}

float distanceCalc(int16_t height) {
	float distances[4] = {80.0, 41.0, 29.0, 25.0};
	if (height < 80 && height >= 41) {
		return (1/(distances[1] - distances[0]))*((float)(height)) + (1-(distances[0]/(distances[1] - distances[0])));
	} else if (height < 41 && height >= 29) {
		return (1/(distances[2] - distances[1]))*((float)(height)) + (2-(distances[1]/(distances[2] - distances[1])));
	} else if (height < 29 && height >= 25) {
		return (1/(distances[3] - distances[2]))*((float)(height)) + (3-(distances[2]/(distances[3] - distances[2])));
	} else {
		return 0;
	}
}

void rotationMatrix(uint8_t rotationType, float APC[3], float rotationAngle) {
	float NewAPC[3] = {0, 0, 0};
	switch (rotationType) {
	case 0: {
		NewAPC[0] = APC[0];
		NewAPC[1] = APC[1]*cosf(rotationAngle) - APC[2]*sinf(rotationAngle);
		NewAPC[2] = APC[1]*sinf(rotationAngle) + APC[2]*cosf(rotationAngle);
		break;
	}
	case 1: {
		NewAPC[0] = APC[0]*cosf(rotationAngle) + APC[2]*sinf(rotationAngle);
		NewAPC[1] = APC[1];
		NewAPC[2] = -1*APC[0]*sinf(rotationAngle) + APC[2]*cosf(rotationAngle);
		break;
	}
	case 2: {
		NewAPC[0] = APC[0]*cosf(rotationAngle) - APC[1]*sinf(rotationAngle);
		NewAPC[1] = APC[0]*sinf(rotationAngle) + APC[1]*cosf(rotationAngle);
		NewAPC[2] = APC[2];
		break;
	}
	}
	for (uint8_t i = 0; i < 3; i++) {
		APC[i] = NewAPC[i];
	}
}

void AngletoCoordinateCalculator(int16_t CVInfo[5], float turretRelativeRotation, int16_t turretPitch, int16_t enemyRelativeCoords[4][3]) {
	int16_t xVALRATIO = 338;
	int16_t yVALRATIO = 200; // CHANGE THIS

	/*
	 * This will be in METERS
	 * 	Index 0: X
	 * 	Index 1: Y
	 * 	Index 2: Distance (Z)
	 */
	float changeOfBasis[3] = {0, 0, 0};

	float armourPlateCoordinate[3] = {0, 0, 0};

	// Calculates the "Distance" from the armour plate relative to the camera position
	armourPlateCoordinate[2] = distanceCalc(CVInfo[3]);

	// Calculates the X and Y coordinates relative to the camera with the Distance and TAN(ARCTAN()) which cancels out
	armourPlateCoordinate[0] = ((CVInfo[0]*armourPlateCoordinate[2])/xVALRATIO);
	armourPlateCoordinate[1] = ((CVInfo[0]*armourPlateCoordinate[2])/yVALRATIO);

	// Fake change of basis to make it relative to the center of the barrels in the center of the turret
	armourPlateCoordinate[0] = armourPlateCoordinate[0] - changeOfBasis[0];
	armourPlateCoordinate[1] = armourPlateCoordinate[1] - changeOfBasis[1];
	armourPlateCoordinate[2] = armourPlateCoordinate[2] - changeOfBasis[2];

	armourPlateCoordinate[2] = -1*armourPlateCoordinate[2];
	rotationMatrix(1, armourPlateCoordinate, (turretRelativeRotation*2*M_PI)/360);
	rotationMatrix(0, armourPlateCoordinate, ((turretPitch*2*M_PI)/8191)-4100);

	for (int8_t i = 1; i > -1; i--) {
		for (uint8_t j = 0; j < 4; j++) {
			enemyRelativeCoords[j][i] = enemyRelativeCoords[j][i+1];
		}
	}

	for (int8_t i = 0; i < 3; i++) {
		enemyRelativeCoords[i][0] = armourPlateCoordinate[i];
	}
	enemyRelativeCoords[3][0] = 1;
}

/*
 * CVInfo:	Index 0: Bounding Box X
 * 			Index 1: Bounding Box Y
 * 			Index 2: Bounding Box Width
 * 			Index 3: Bounding Box Height
 * 			Index 4: Bounding Box Time Out
 *
 * enemyRelativeCoords:	Index 0, 0: Relative X Value	Index 0, 1: Old Relative X Value	Index 0, 2: Oldest Relative X Value
 * 						Index 1, 0: Relative Y Value	Index 1, 1: Old Relative Y Value	Index 1, 2: Oldest Relative Y Value
 * 						Index 2, 0: Relative Z Value	Index 2, 1: Old Relative Z Value	Index 2, 2: Oldest Relative Z Value
 * 						Index 3, 0: Not Null Value		Index 3, 1: Not Null Value			Index 3, 2: Not Null Value
 * 			NOTE: Values in here are in millimeters
 */
void leadCalculator (float currentAngle, int16_t CVInfo[5], int16_t enemyRelativeCoords[4][3]) {

}

// int16_t brans = (1/(distances[1] - distances[0]))*height + (1-(distances[0]/(distances[1] - distances[0])));
uint8_t WithinRangeCalculator(int16_t inputValue, int16_t searchPosition, int16_t delta) {
	if ((inputValue < searchPosition + delta) && (inputValue > searchPosition - delta)) {
		return 1;
	} else {
		return 0;
	}
}

uint8_t isRobotEnemy(int16_t SentryTeam, int16_t enemyTeamColour) {
	// We are RED!!!
	if (SentryTeam == 7) {
		if (enemyTeamColour == 1) {
			return 1;
		} else {
			return 0;
		}
		// WE ARE BLUE
	} else {
		if (enemyTeamColour == 1) {
			return 0;
		} else {
			return 1;
		}
	}
}

int16_t wheelRotation (int16_t currentRotation, int16_t destinationRotation) {
	int8_t newTargetRotationCounter = 0;
	int16_t ACD = abs(destinationRotation - currentRotation);
	int16_t ALD = abs((destinationRotation - 8191) - currentRotation);
	int16_t AUD = abs((destinationRotation + 8191) - currentRotation);
	if (ACD < ALD && ACD < AUD) { // Normal Delta is best case
		newTargetRotationCounter = 0;
	} else if (ALD < ACD && ALD < AUD) { // Lower Delta (Flip) is best case
		newTargetRotationCounter = -1;
	} else { // Upper Delta is best case here
		newTargetRotationCounter = 1;
	}
    return ((destinationRotation + (8191*newTargetRotationCounter)) - currentRotation);
}

/* USER CODE END 4 */

void StartFlowManager(void *argument)
{
  /* USER CODE BEGIN 5 */
	uint8_t iCount = 0;
	int16_t forwardStrafe = 0;

	DBUS_Rx_Init(&huart3);

	// UART_Ex_Init(&huart1);
	UART_Ex_Init(&huart6);
	CAN_Init();
	BMI088_gyro_init();
  /* Infinite loop */
  for(;;)
  {
	  DBUS_Update();
	  // CAN_Updater(Bus1);
	  if(iCount%3==0){
		  CAL_Update();
	  }

	  if (driveChassisForwards == 1) {
		  forwardStrafe = 100;
	  } else {
		  forwardStrafe = 0;
	  }

	  // 930
	  if (sentryAutoState >= 2) {
		  CAL_SendChassisCommands( 0, 0, 0,((2750+500)/2),0,1,2);
	  } else {
		  CAL_SendChassisCommands(CAL_getCH1() + forwardStrafe,(CAL_getCH0()),-1*CAL_getCH4(),((2750+500)/2),0,1,2);
	  }

	  //UART_Printf(&huart6,"DBUS Check: %d %d \n", getDR16_W(),getCC_W());
	  //UART_Printfmt(&huart6,"%d \n",getDR16_CH1());

	  if(iCount<255){
		  iCount++;
	  }else{
		  iCount = 0;
	  }
	  osDelay(1);
  }
  /* USER CODE END 5 */
}

__weak void imu_temp_control_task(void *argument)
{
  for(;;)
  {
    osDelay(1);
  }
}

void StartTurretTask(void *argument)
{
  /* USER CODE BEGIN StartTurretTask */
	PID_preset_t turretRotation = {110.0, 0.0, 15.0};
	PID_preset_t turretPitch = {25.0, 0.0, 130.0};
	PID_preset_t test2 = {100.0, 0.01, 20.0};
	PID_preset_t test3 = {160.0, 0.0, 100.0};
	PID_preset_t fondler = {1.5, 0.0, 0.0};
	PID_preset_t flywheels = {4.0, 0.0, 0.0};

	float gyroidValue = 0;
	float gyroVelAll[3] = {0, 0, 0};

	float targetTurretAng = 0;
	float currentTurretAng = 0;

	int16_t turretPitchPos = 4400;
	int8_t fondlerVars[2][5] = {{0, 0, 0, 0, 0}, {0, 0, 0, 0, 0}};
	uint8_t barrelToggle = 0;
	uint16_t speed = 5000;
	int16_t previousPeans = 0;

	int32_t toGoVelue = 0;

	int16_t turretYawVal = 0;
	SentryTurnAngle = 2000;
	uint8_t firingNow = 1;
	// X, Y, Width, Height, TimeoutLength

  /* Infinite loop */
  for(;;)
  {

	  // Turret Pitch
	  // int16_t turretPitchVal = (1.4*(CAL_getCH3()))+4100;
	  // setMotorPosition(Bus2, GM6020, 3,  turretPitchVal, TurretRotation);

	  turretPitchPos = turretPitchPos + ((CAL_getCH3()+turretRotationForCV[1])*0.15);

	  // Minimum = 3200

	  if (sentryAutoState == 0) {
		  turretPitchPos = turretPitchPos + ((CAL_getCH3()+turretRotationForCV[1])*0.15);
		  if (turretPitchPos > 5000) {
		  		  turretPitchPos = 5000;
		  	  } else if (turretPitchPos < 4000) {
		  		  turretPitchPos = 4000;
		  	  }

		  	  setMotorPosition(Bus2, GM6020, 3,  turretPitchPos, turretPitch);

	  } else if (sentryAutoState == 4) {
		  int16_t turretPitchVel = turretRotationForCV[1];// turretRotationForCV[1];
		  setMotorRPM(Bus2, GM6020, 3, turretPitchVel, turretPitch);

	  } else {
		  turretPitchPos = 4100;
		  setMotorPosition(Bus2, GM6020, 3,  turretPitchPos, turretPitch);

	  }

	  // UART_Printf(&huart6, "%d, %d\r\n", getRotorPosition(Bus2, GM6020, 3), turretPitchPos);

	  // float gyroVel[3] = {IMU_get_gyro(0), IMU_get_gyro(1), IMU_get_gyro(2)};

	  /*
	  float kP = 80.0;
	  // Tuned to KD of 125
	  float kD = 80.0;

	  float gyroVel2 = IMU_get_gyro(2);
	  if (gyroVel2 < 0.05 || gyroVel2 > -0.05) {
		  gyroVel2 = 0;
	  }

	  // Turret Rotation Debug Mode
	  if (sentryAutoState == 0) {
	  	   turretYawVal = CAL_getCH2();
	  	   // setMotorRPM(Bus1, GM6020, 5, (int16_t)(-0.4*(float)(turretYawVal)), test2);
	  } else if ((sentryAutoState != 0) || (sentryAutoState != 4)) {
		  // 2811
		   turretYawVal = 2811+910-400;
		   setMotorPosition(Bus1, GM6020, 5, turretYawVal, test3);
	  } else if (sentryAutoState == 4) {
		  setMotorPosition(Bus1, GM6020, 5, turretRotationForCV[0], test3);
	  }

	  turretYawVal = 2811+910-400 + CAL_getCH2();

	  int32_t toGoVelue = 2243 + CAL_getCH2();

	  int32_t beans = kP*(toGoVelue - getRotorPosition(Bus1, GM6020, 5)) + kD*(((toGoVelue - getRotorPosition(Bus1, GM6020, 5)) - previousPeans) + -80*gyroVel2);
	  previousPeans = (toGoVelue - getRotorPosition(Bus1, GM6020, 5));

	  int32_t beans2 = applyCtrlLimit(GM6020, beans);
	  CAN_setMotorCtrlVal(Bus1, GM6020, 5, beans2);
	  // setMotorPosition(Bus1, GM6020, 5, turretYawVal, test3);
	  // 2811
	  // 6607
	  UART_Printf(&huart6, "%d\r\n", getRotorPosition(Bus1, GM6020, 5));
	  */
	  float kP = 25.0;
	  // Tuned to KD of 125
	  float kD = 200.0;

	  for (uint8_t i = 2; i > 0; i--) {
		  gyroVelAll[i] = gyroVelAll[i-1];
	  }

	  gyroVelAll[0] = IMU_get_gyro(2);
	  float gyroVel2 = (gyroVelAll[0] + gyroVelAll[1] + gyroVelAll[2])/3;

	  if (gyroVel2 < 0.05 || gyroVel2 > -0.05) {
		  gyroVel2 = 0;
	  }
	  // Turret Rotation Debug Mode
	  // SentryTurnAngle
	  // turretYawVal = 1850 + CAL_getCH2();
	  if (sentryAutoState == 0) {
		   turretYawVal = CAL_getCH2();
		   setMotorRPM(Bus1, GM6020, 5, (int16_t)(-0.4*(float)(turretYawVal)), test2);
	  } else if (sentryAutoState == 4) {
		  // float gyroVel[3] = {IMU_get_gyro(0), IMU_get_gyro(1), IMU_get_gyro(2)};
		  /*
		  if (((gyroVel2[2] > -0.02) && (gyroVel2[2] < 0.02))) {
			  gyroVel2[2] = 0;
		  }
		*/

		  float gVP = gyroVel2 + (float)(CAL_getCH2()+turretRotationForCV[0])*0.01;
		  gyroidValue += gyroVel2 + (float)(CAL_getCH2()+turretRotationForCV[0])*0.01;
		  setMotorRPM(Bus1, GM6020, 5, (int16_t)(-1*gyroidValue + -200*gVP), test2);

		  // setMotorPosition(Bus1, GM6020, 5, turretRotationForCV[0], test3);
	  } else {

		  toGoVelue = SentryTurnAngle + CAL_getCH2();

		  int16_t velue = wheelRotation (getRotorPosition(Bus1, GM6020, 5), toGoVelue);
		  // 2811
		   // turretYawVal = 1850;
		   // setMotorPosition(Bus1, GM6020, 5, turretYawVal, test3);
		  int32_t beans = kP*(velue) + kD*((velue - previousPeans) + -80*gyroVel2);
		  previousPeans = (velue);

		  int32_t beans2 = applyCtrlLimit(GM6020, beans);
		  CAN_setMotorCtrlVal(Bus1, GM6020, 5, beans2);

  	  }

	  // CAN_Print(turretRotationForCV[0],getMotorRPM(Bus1, GM6020, 5),getRotorPosition(Bus1, GM6020, 5),currentGameStatus,sentryAutoState);
	  /*
	  turretYawVal = 2243 + CAL_getCH2();
	  setMotorPosition(Bus1, GM6020, 5, turretYawVal, test2);
	 */

	  // Liang's Turret Yaw
	  /*
	  float gyroVel[3] = {IMU_get_gyro(0), IMU_get_gyro(1), IMU_get_gyro(2)};

	  if (((gyroVel[2] > -0.02) && (gyroVel[2] < 0.02))) {
		  gyroVel[2] = 0;
	  }

	  float gVP = gyroVel[2] + (float)(CAL_getCH2()+turretRotationForCV[0])*0.01;
	  gyroidValue += gyroVel[2] + (float)(CAL_getCH2()+turretRotationForCV[0])*0.01;
	  setMotorRPM(Bus1, GM6020, 5, (int16_t)(-1*gyroidValue + -200*gVP), test2);
	  */

	  // UART_Printf(&huart6, "P Term: %f, I Term: %f\r\n", gVP, gyroidValue);
	  // Jan's Turret Yaw
	  /*
	  float targetTurretAngVel = (float)(CAL_getCH2()+turretRotationForCV[0])*0.032;

	  targetTurretAng -= targetTurretAngVel;
	  if(targetTurretAng<0){
		  targetTurretAng = 360.0-targetTurretAng;
	  }else if(targetTurretAng>360.0){
		  targetTurretAng = targetTurretAng-360.0;
	  }

	  //find current angular velocity in degrees/iteration (i think) (iknow now)
	  float currentTurretAngVel = IMU_get_gyro(2)*2.445456578;

	  //find current angle also standard math in degrees
	  if(currentTurretAngVel>0.006||currentTurretAngVel<-0.006){//filter out noise from gyro
		  currentTurretAng = currentTurretAng + currentTurretAngVel; //proportional to ang position, not
		  if(currentTurretAng<0.0){
			  currentTurretAng = 360.0-currentTurretAng;
		  }else if(currentTurretAng>360.0){
			  currentTurretAng = currentTurretAng-360.0;
		  }
	  }
	  //-115
	  setMotorRPM(Bus1,GM6020,5,(-90.0*(currentTurretAngVel+0.9*targetTurretAngVel)+10.0*angSmallestDiff(targetTurretAng, currentTurretAng)), turretRotation);
	  UART_Printf(&huart6, "CurrentVel=%f,TargetAngleVel=%f,TargetPosition=%f,CurrentPosition=%f\r\n", currentTurretAngVel, targetTurretAngVel+175, targetTurretAng, currentTurretAng);
	  */
	  // UART_Printf(&huart1, "BUFFER!!!: %d\r\n", CAL_getBufferEnergy());
	  // UART_Printf(&huart6, "Gyro: %f,    currentTurretAng: %f,    currentTurretAngVel: %f,    targetTurretAng: %f,    angSmallestDiff: %f,    calRPM_PID: %d,    getMotorPosition: %d\r\n", IMU_get_gyro(2), currentTurretAng, currentTurretAngVel, targetTurretAng, angSmallestDiff(targetTurretAng, currentTurretAng), calcRPM_PID(Bus1, GM6020, 5, (-80*(currentTurretAngVel+1.1*targetTurretAngVel)+50.0*angSmallestDiff(targetTurretAng, currentTurretAng)), turretRotation), getRotorPosition(Bus1, GM6020, 5));

	  // UART_Printf(&huart1, "M1: %d | M2: %d | M3: %d | M4: %d\r\n", getMotorRPM(Bus1, M3508, 1), getMotorRPM(Bus1, M3508, 2), getMotorRPM(Bus1, M3508, 3), getMotorRPM(Bus1, M3508, 4));

	  // Shooting Settings
      if (CAL_getS1() > 1 || SENTRYSHOOT[1] == 1) {
          setMotorRPM(Bus1, M3508, 1, -1*speed, flywheels);

          setMotorRPM(Bus1, M3508, 2, speed, flywheels);
          // osDelay(2);
          setMotorRPM(Bus1, M3508, 3, speed, flywheels);
          // osDelay(2);
          setMotorRPM(Bus1, M3508, 4, -1*speed, flywheels);
          // osDelay(2);
          // setMotorRPM(Bus1, M3508, 1, -1*speed, flywheels);
          // usart_printf("Shooting\r\n");
          // usart_printf("On\r\n");
      } else {
      	// setMotorRPM(Bus1, M3508, 1, 0, yawPresetVoltageRPM);
      	setMotorRPM(Bus1, M3508, 2, 0, flywheels);
      	// osDelay(2);
      	setMotorRPM(Bus1, M3508, 3, 0, flywheels);
      	// osDelay(2);
      	setMotorRPM(Bus1, M3508, 4, 0, flywheels);
      	// osDelay(2);
      	setMotorRPM(Bus1, M3508, 1, 0, flywheels);
      	// usart_printf("Off\r\n");
      }

      float heatBufferFraction1 = 0;
      float heatBufferFraction2 = 0;
      if (CAL_getHeatLimit() != 0) {
    	  heatBufferFraction1 = (float)(CAL_getBarrel1Heat())/(400.0);
    	  heatBufferFraction2 = (float)(CAL_getBarrel2Heat())/(400.0);
      }

      uint8_t flywheelReved = 0;
      if ((getMotorRPM(Bus1, M3508, 1) < -4500) && (getMotorRPM(Bus1, M3508, 2) > 4500) && (getMotorRPM(Bus1, M3508, 3) > 4500) && (getMotorRPM(Bus1, M3508, 4) < -4500)) {
    	  flywheelReved = 1;
      } else {
    	  flywheelReved = 0;
      }

      if (firingNow == 1 && (heatBufferFraction1 > 0.8 || heatBufferFraction2 > 0.8)) {
    	  firingNow = 0;
      } else if (firingNow == 0 && ((heatBufferFraction1 < 0.3 && heatBufferFraction2 < 0.3))) {
    	  firingNow = 1;
      }

	  if (CAL_getS1() == 2) {
		  // Motors 2 & 4 (Left)
		  fondlerAutoReverse (fondlerVars[0], 1, 5, -1, fondler);
		  osDelay(2);
		  // Motors 1 & 3 (Right)
	      fondlerAutoReverse (fondlerVars[1], 1, 6, 1, fondler);
		  /*
			setMotorRPM(Bus1, M2006, 5, 5000, fondler);
			osDelay(2);
			setMotorRPM(Bus1, M2006, 6, -5000, fondler);
			*/
	  } else if (( SENTRYSHOOT[1] == 1 && flywheelReved == 1 && firingNow == 1)) {
		  if (getMotorRPM(Bus1, M3508, 2) < 4800 && getMotorRPM(Bus1, M3508, 4) > -4800 && barrelToggle == 1) {
			  barrelToggle = 0;
		  } else if (getMotorRPM(Bus1, M3508, 3) < 4800 && getMotorRPM(Bus1, M3508, 1) > -4800 && barrelToggle == 0) {
			  barrelToggle = 1;
		  }

		  if (barrelToggle == 0) {
			  fondlerAutoReverse (fondlerVars[1], 1, 6, 1, fondler);
			  osDelay(2);
			  fondlerAutoReverse (fondlerVars[0], 0, 5, -1, fondler);
		  } else if (barrelToggle == 1) {
			  fondlerAutoReverse (fondlerVars[0], 1, 5, -1, fondler);
			  osDelay(2);
			  fondlerAutoReverse (fondlerVars[1], 0, 6, 1, fondler);
		  }
		  // UART_Printf(&huart1, "%d\r\n", barrelToggle);
	  } else {
		  fondlerAutoReverse (fondlerVars[0], 0, 5, -1, fondler);
		  osDelay(2);
		  fondlerAutoReverse (fondlerVars[1], 0, 6, 1, fondler);
		  /*
			setMotorRPM(Bus1, M3508, 5, 0, fondler);
			osDelay(2);
			setMotorRPM(Bus1, M2006, 6, 0, fondler);
		   */
	  }

	  osDelay(5);
  }
  /* USER CODE END StartTurretTask */
}

/* USER CODE BEGIN Header_StartSentryAutonomy */

extern uint16_t CAL_LastTargetX;
extern uint16_t CAL_LastTargetY;
extern uint16_t CAL_LastTargetWidth;
extern uint16_t CAL_LastTargetHeight;

/**
* @brief Function implementing the SentryAutonomy thread.
* @param argument: Not used
* @retval None
*/
/* USER CODE END Header_StartSentryAutonomy */
void StartSentryAutonomy(void *argument)
{
  /* USER CODE BEGIN StartSentryAutonomy */
	osDelay(1000);
	MX_USART1_UART_Init();
	UART_Ex_Init(&huart1);

	currentGameStatus = 0;

	sentryAutoState = 0;

	SENTRYSHOOT[0] = 0;
	SENTRYSHOOT[1] = 0;
	int16_t stateCounter = 0;

	int16_t tempTurretRot[2] = {0, 0};
	int16_t preVTTR[2] = {0, 0};

	int16_t motorYawPrev = 0;

	int16_t oldSequenceNumber = 0;
	int16_t CVArray[5] = {0, 0, 0, 0, 0};
	int16_t enemyRelativeCoords[4][3] = {0};
	float currentTurretAngleSentry = 0;

	CAL_getCurrentStage();
  /* Infinite loop */
  for(;;)
  {
	  /*
		if (game_status.game_progress == 0 && currentGameStatus < 0) {
			currentGameStatus = 0;
		} else if ((game_status.game_progress == 1 && currentGameStatus < 1) || leftSwitch == 2) {
			currentGameStatus = 1;
		} else if (game_status.game_progress == 2 && currentGameStatus < 2) {
			currentGameStatus = 2;
		} else if (game_status.game_progress == 3 && currentGameStatus < 3) {
			currentGameStatus = 3;
		} else if ((game_status.game_progress == 4 && currentGameStatus < 4) || leftSwitch == 3) {
			currentGameStatus = 4;
		} else if ((game_status.game_progress == 5 && currentGameStatus < 5) || leftSwitch == 1) {
			currentGameStatus = 5;
		}
		*/
	  if (getDR16_S2() == 1) {
		  currentGameStatus = 0;
		  SENTRYSHOOT[1] = 0;
	  } else if (getDR16_S2() == 3) {
		  currentGameStatus = 1;
	  } else if (getDR16_S2() == 2) {
		  currentGameStatus = 4;
	  } else {
		  currentGameStatus = CAL_getCurrentStage();
	  }

	  // CAN_Print(turretRotationForCV[0],turretRotationForCV[1],SentryTurnAngle,currentGameStatus,sentryAutoState);
	  // UART_Printf(&huart1, "Current Game Status: %d, Actual Game State: %d, Sentry Auto State: %d, Sentry Turn Angle: %d\r\n", currentGameStatus, CAL_getCurrentStage(), sentryAutoState, SentryTurnAngle);

	  // UART_Printf(&huart1, "Current Game State: %d, Team Colour: %d\r\n", CAL_getCurrentStage(), CAL_getRobotId());
	  // CAN_Print(currentGameStatus,sentryAutoState,SENTRYSHOOT[1],driveChassisForwards,sentryAutoState);

	  switch (currentGameStatus) {
	  case 0: { // Pre Competition
		  /*
		  if ((currentGameStatus < 1 && CAL_getCurrentStage() >= 0)) {
			  currentGameStatus = 1;
		  }
		  */
		  stateCounter = 0;
		  sentryAutoState = 0;
		  break;
	  }
	  case 1: { // Set up Period
		  /*
		  if ((currentGameStatus < 2 && CAL_getCurrentStage() >= 1)) {
			  currentGameStatus = 2;
		  }
		  */
		  SentryTurnAngle = getRotorPosition(Bus1, GM6020, 5);
		  stateCounter = 0;
		  sentryAutoState = 0;
		  break;
	  }
	  case 2: { // 15 Second Referee System Initialization Period
		  /*
		  if ((currentGameStatus < 3 && CAL_getCurrentStage() >= 2)) {
			  currentGameStatus = 3;
		  }
		  */
		  stateCounter = 0;
		  sentryAutoState = 0;
		  break;
	  }
	  case 3: { // 5 Second Countdown
		  /*
		  if ((currentGameStatus < 4 && CAL_getCurrentStage() >= 3)) {
			  currentGameStatus = 4;
		  }
		  */
		  stateCounter = 0;
		  sentryAutoState = 0;
		  break;
	  }
	  case 4: { // In Competition
		  /*
		  if ((currentGameStatus < 5 && CAL_getCurrentStage() >= 4)) {
			  currentGameStatus = 5;
		  }
		  */
		  if (stateCounter < 2000) {
			  stateCounter++;
		  }

		  switch (sentryAutoState) {

		  // DEBUG STATE/Calibrate TurretState
		  case 0: {
			  driveChassisForwards = 0;
			  if (stateCounter > 100) {
				  sentryAutoState = 5;
			  }
			  SentryTurnAngle = getRotorPosition(Bus1, GM6020, 5);
			  SENTRYSHOOT[1] = 0;
			  break;
		  }
		  // AIM INTO REGION STATE
		  case 5: {
			  if (stateCounter > 200) {
				  sentryAutoState = 1;
			  }
			  SENTRYSHOOT[1] = 0;
			  break;
		  }
		  // MOVE INTO WALL STATE
		  case 1: {

			  driveChassisForwards = 0;
			  SENTRYSHOOT[1] = 1;
			  /*
			  if (stateCounter > 600) {
				  sentryAutoState = 2;
			  }
			  */
			  /*
			  if (CVArray[4] < 5) {
				  sentryAutoState = 4;
			  }

			  SENTRYSHOOT[1] = 0;
			  break;
		  }
		  // DRYFIRESTATE & SCAN CHECKING STATE
		  case 2:  {
			  driveChassisForwards = 0;

			  if (CVArray[4] < 5) {
				  sentryAutoState = 4;
			  }
			  if (stateCounter > 1000) {
				  sentryAutoState = 3;
			  }
			  */
			  SENTRYSHOOT[1] = 1;
			  break;
		  }
		  // SCAN PHASE
		  case 3: {
			  if (CVArray[4] < 5) {
				  sentryAutoState = 4;
			  }
			  SENTRYSHOOT[1] = 0;
			  break;
		  }
		  // FIRE PHASE
		  case 4: {
			  driveChassisForwards = 0;
			  /*
			  if (CVArray[4] >= 75) {
				  sentryAutoState = 3;
			  }
			  */
			  if (CVArray[4] < 40) {
				  // Seeing Someone
				  turretRotationForCV[2] = 1;

				  // Delta Value Thing
				  // Original Tune was 0.25 for yaw and -0.25 for pitch
				  // Im planning on tuning this kP Value first and then ill see if adding a D value will help, Hopefully it will
				  tempTurretRot[0] = 0.2*(float)(CVArray[0]) + 10.0*(float)(CVArray[0]-preVTTR[0]);
				  tempTurretRot[1] = -1.2*(float)(CVArray[1]) - 24.0*(float)((CVArray[1])-preVTTR[1]);

				  preVTTR[0] = CVArray[0];
				  preVTTR[1] = CVArray[1];

				  /*
				  tempTurretRot[0] = ((float)(getRotorPosition(Bus1, GM6020, 5)) - (float)(CVArray[0])*2.0 - (float)(getRotorPosition(Bus1, GM6020, 5)-motorYawPrev));
				  tempTurretRot[1] = ((float)(getRotorPosition(Bus1, GM6020, 5)) + (float)(CVArray[1])*2.0);
				  motorYawPrev = getRotorPosition(Bus1, GM6020, 5);
				  */
				  for (uint8_t j = 0; j < 2; j++) {
					  if (tempTurretRot[j] < -660) {
						  tempTurretRot[j] = -660;
					  } else if (tempTurretRot[j] > 660 ){
						  tempTurretRot[j] = 660;
					  }
					  turretRotationForCV[j] = tempTurretRot[j];
				  }

				  if ((WithinRangeCalculator(CVArray[0], 0, 150) == 1) && (WithinRangeCalculator(CVArray[1], 0, 150) == 1) && (CVArray[2] != 0) && (CVArray[3] != 0)) {
					  SENTRYSHOOT[1] = 1;
				  } else {
					  SENTRYSHOOT[1] = 0;
				  }
			  } else {
				  // Not Seeing Someone
				  turretRotationForCV[0] = 0;
				  turretRotationForCV[1] = 0;
				  turretRotationForCV[2] = 0;
				  SENTRYSHOOT[1] = 0;
				  sentryAutoState = 3;
			  }
			  break;
		  }
		  }

		  if ((oldSequenceNumber == CAL_getCVSeq() && CVArray[4] < 40) || (isRobotEnemy(CAL_getRobotId(), CAL_getTargetColour()) == 1)) {
			  CVArray[4] += 1;
		  } else if (oldSequenceNumber == CAL_getCVSeq() && CVArray[4] >= 40) {
			  CVArray[4] = 40;
		  } else {
			  CVArray[0] = CAL_getTargetX();
			  CVArray[1] = CAL_getTargetY() + 75;
			  CVArray[2] = CAL_getTargetWidth();
			  CVArray[3] = CAL_getTargetHeight();
			  CVArray[4] = 0;
			  AngletoCoordinateCalculator(CVArray, currentTurretAngleSentry, getRotorPosition(Bus2, GM6020, 3), enemyRelativeCoords);
		  }
		  oldSequenceNumber = CAL_getCVSeq();

		  /*
		  if (CVArray[4] < 75) {
			  // Seeing Someone
			  turretRotationForCV[2] = 1;

			  // Delta Value Thing
			  tempTurretRot[0] = (float)(CVArray[0]) + ((float)(getMotorPosition())*1.0);
			  tempTurretRot[1] = (float)(CVArray[1]) + ((float)(getMotorPosition())*1.0);
			  for (uint8_t j = 0; j < 2; j++) {
				  turretRotationForCV[j] = tempTurretRot[j];
			  }

			  if ((WithinRangeCalculator(CVArray[0], 0, 150) == 1) && (WithinRangeCalculator(CVArray[1], 0, 40) == 1) && (CVArray[2] != 0) && (CVArray[3] != 0)) {
				  SENTRYSHOOT[1] = 1;
			  } else {
				  SENTRYSHOOT[1] = 0;
			  }
		  } else {
			  // Not Seeing Someone
			  turretRotationForCV[0] = 0;
			  turretRotationForCV[1] = 0;
			  turretRotationForCV[2] = 0;
			  SENTRYSHOOT[1] = 0;
		  }
			*/

		  //  UART_Printf(&huart1, "x: %d | y: %d || width s: %d | height: %d || Timeout Length: %d\r\n", CVArray[0], CVArray[1], CVArray[2], CVArray[3], CVArray[4]);
		  // UART_Printf(&huart6, "x: %d\r\n", CAL_getTargetX());
		  // UART_Printf(&huart6, "x: %d | y: %d || width: %d | height: %d | TimeoutLength: %d  | SEQ: %d || Rough Distance: %f\r\n", CVArray[0], CVArray[1], CVArray[2], CVArray[3], CVArray[4], CAL_getCVSeq(), distanceCalc(CVArray[3]));
		  // UART_Printf(&huart6, "CurrentGameStatus: %d\r\n", currentGameStatus);
		  // UART_Printf(&huart1, "x: %d, y: %d\r\n", CVArray[0], CVArray[1]);
		  break;
	  }
	  case 5: { // Competition Results Computation
		  break;
	  }
	  }

	  PWMTimerStarter();
    osDelay(5);

  }

  /* USER CODE END StartSentryAutonomy */
}

void Error_Handler(void)
{
  __disable_irq();
  while (1)
  {
  }
}
